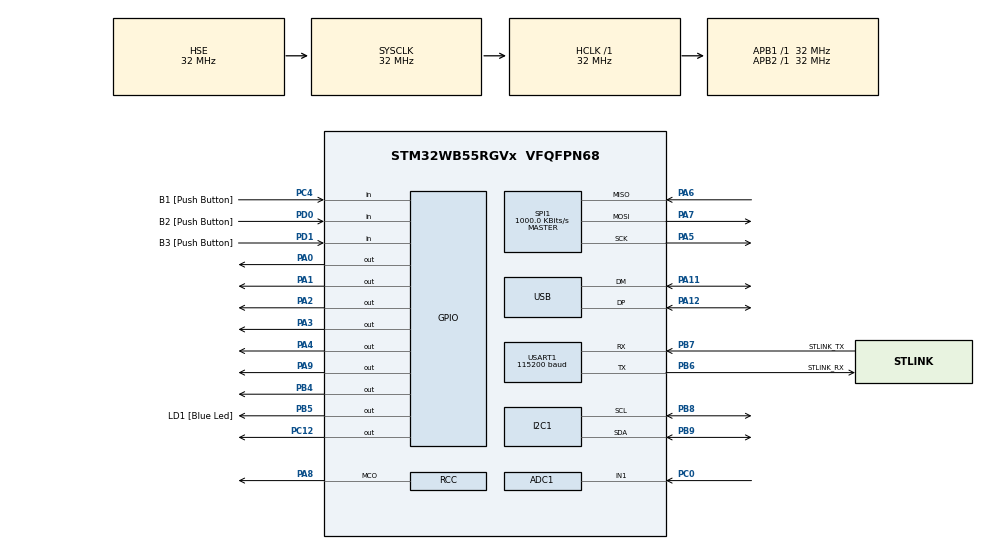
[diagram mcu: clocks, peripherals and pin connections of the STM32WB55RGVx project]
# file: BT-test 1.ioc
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ADC1.Channel-1\#ChannelRegularConversion=ADC_CHANNEL_1
ADC1.ContinuousConvMode=DISABLE
ADC1.NbrOfConversionFlag=1
ADC1.OffsetNumber-1\#ChannelRegularConversion=ADC_OFFSET_NONE
ADC1.Rank-1\#ChannelRegularConversion=1
ADC1.SamplingTime-1\#ChannelRegularConversion=ADC_SAMPLETIME_2CYCLES_5
ADC1.master=1
Dma.Request0=USART1_RX
Dma.Request1=USART1_TX
Dma.USART1_RX.0.Direction=DMA_PERIPH_TO_MEMORY
Dma.USART1_RX.0.EventEnable=DISABLE
Dma.USART1_RX.0.Instance=DMA1_Channel1
Dma.USART1_RX.0.MemDataAlignment=DMA_MDATAALIGN_BYTE
Dma.USART1_RX.0.MemInc=DMA_MINC_ENABLE
Dma.USART1_RX.0.Mode=DMA_NORMAL
Dma.USART1_RX.0.PeriphDataAlignment=DMA_PDATAALIGN_BYTE
Dma.USART1_RX.0.PeriphInc=DMA_PINC_DISABLE
Dma.USART1_RX.0.Polarity=HAL_DMAMUX_REQ_GEN_RISING
Dma.USART1_RX.0.Priority=DMA_PRIORITY_LOW
Dma.USART1_RX.0.RequestNumber=1
Dma.USART1_RX.0.SignalID=NONE
Dma.USART1_RX.0.SyncEnable=DISABLE
Dma.USART1_RX.0.SyncPolarity=HAL_DMAMUX_SYNC_NO_EVENT
Dma.USART1_RX.0.SyncRequestNumber=1
Dma.USART1_RX.0.SyncSignalID=NONE
Dma.USART1_TX.1.Direction=DMA_MEMORY_TO_PERIPH
Dma.USART1_TX.1.EventEnable=DISABLE
Dma.USART1_TX.1.Instance=DMA1_Channel2
Dma.USART1_TX.1.MemDataAlignment=DMA_MDATAALIGN_BYTE
Dma.USART1_TX.1.MemInc=DMA_MINC_ENABLE
Dma.USART1_TX.1.Mode=DMA_NORMAL
Dma.USART1_TX.1.PeriphDataAlignment=DMA_PDATAALIGN_BYTE
Dma.USART1_TX.1.PeriphInc=DMA_PINC_DISABLE
Dma.USART1_TX.1.Polarity=HAL_DMAMUX_REQ_GEN_RISING
Dma.USART1_TX.1.Priority=DMA_PRIORITY_LOW
Dma.USART1_TX.1.RequestNumber=1
Dma.USART1_TX.1.SignalID=NONE
Dma.USART1_TX.1.SyncEnable=DISABLE
Dma.USART1_TX.1.SyncPolarity=HAL_DMAMUX_SYNC_NO_EVENT
Dma.USART1_TX.1.SyncRequestNumber=1
Dma.USART1_TX.1.SyncSignalID=NONE
I2C1.Timing=0x00707CBB
Mcu.Family=STM32WB
Mcu.Name=STM32WB55RGVx
Mcu.Package=VFQFPN68
NVIC.DMA1_Channel1_IRQn=true\:0\:0\:false\:false\:true\:false\:true\:true
NVIC.DMA1_Channel2_IRQn=true\:0\:0\:false\:false\:true\:false\:true\:true
NVIC.HSEM_IRQn=true\:0\:0\:false\:false\:true\:false\:true\:true
NVIC.IPCC_C1_RX_IRQn=true\:0\:0\:false\:false\:true\:true\:true\:true
NVIC.IPCC_C1_TX_IRQn=true\:0\:0\:false\:false\:true\:true\:true\:true
NVIC.PriorityGroup=NVIC_PRIORITYGROUP_4
NVIC.RTC_WKUP_IRQn=true\:0\:0\:false\:false\:true\:true\:true\:true
NVIC.SPI1_IRQn=true\:0\:0\:false\:false\:true\:true\:true\:true
NVIC.USART1_IRQn=true\:0\:0\:false\:false\:true\:true\:true\:true
OSC_IN.Mode=HSE-External-Oscillator
OSC_IN.Signal=RCC_OSC_IN
OSC_OUT.Mode=HSE-External-Oscillator
OSC_OUT.Signal=RCC_OSC_OUT
PA0.Signal=GPIO_Output
PA1.Signal=GPIO_Output
PA11.Mode=Device
PA11.Signal=USB_DM
PA12.Mode=Device
PA12.Signal=USB_DP
PA13.GPIO_Label=JTMS
PA13.Mode=Serial_Wire
PA13.Signal=SYS_JTMS-SWDIO
PA14.GPIO_Label=JTCK
PA14.Mode=Serial_Wire
PA14.Signal=SYS_JTCK-SWCLK
PA2.Signal=GPIO_Output
PA3.Signal=GPIO_Output
PA4.Signal=GPIO_Output
PA5.Mode=Full_Duplex_Master
PA5.Signal=SPI1_SCK
PA6.Mode=Full_Duplex_Master
PA6.Signal=SPI1_MISO
PA7.Mode=Full_Duplex_Master
PA7.Signal=SPI1_MOSI
PA8.Mode=Clock-out
PA8.Signal=RCC_MCO
PA9.Signal=GPIO_Output
PB3.GPIO_Label=JTDO
PB3.Signal=SYS_JTDO-SWO
PB4.Signal=GPIO_Output
PB5.GPIO_Label=LD1 [Blue Led]
PB5.Signal=GPIO_Output
PB6.GPIO_Label=STLINK_RX
PB6.GPIO_PuPd=GPIO_PULLUP
PB6.Mode=Asynchronous
PB6.Signal=USART1_TX
PB7.GPIO_Label=STLINK_TX
PB7.GPIO_PuPd=GPIO_PULLUP
PB7.Mode=Asynchronous
PB7.Signal=USART1_RX
PB8.GPIO_Pu=GPIO_PULLUP
PB8.GPIO_Speed=GPIO_SPEED_FREQ_VERY_HIGH
PB8.Mode=I2C
PB8.Signal=I2C1_SCL
PB9.GPIO_Pu=GPIO_PULLUP
PB9.GPIO_Speed=GPIO_SPEED_FREQ_VERY_HIGH
PB9.Mode=I2C
PB9.Signal=I2C1_SDA
PC0.Signal=ADCx_IN1
PC12.Signal=GPIO_Output
PC13.Signal=SYS_WKUP2
PC14-OSC32_IN.Mode=LSE-External-Oscillator
PC14-OSC32_IN.Signal=RCC_OSC32_IN
PC15-OSC32_OUT.Mode=LSE-External-Oscillator
PC15-OSC32_OUT.Signal=RCC_OSC32_OUT
PC4.GPIO_Label=B1 [Push Button]
PC4.Signal=GPIO_Input
PD0.GPIO_Label=B2 [Push Button]
PD0.Signal=GPIO_Input
PD1.GPIO_Label=B3 [Push Button]
PD1.Signal=GPIO_Input
ProjectManager.HeapSize=0x200
ProjectManager.StackSize=0x400
ProjectManager.TargetToolchain=STM32CubeIDE
RCC.ADCFreq_Value=48000000
RCC.AHBFreq_Value=32000000
RCC.APB1Freq_Value=32000000
RCC.APB1TimFreq_Value=32000000
RCC.APB2Freq_Value=32000000
RCC.APB2TimFreq_Value=32000000
RCC.APB3Freq_Value=16000000
RCC.CortexFreq_Value=32000000
RCC.HCLKFreq_Value=32000000
RCC.HSE_VALUE=32000000
RCC.HSI48_VALUE=48000000
RCC.HSI_VALUE=16000000
RCC.PLLN=32
RCC.PLLP=RCC_PLLP_DIV7
RCC.PLLSAI1N=24
RCC.RFWKPClockSelection=RCC_RFWKPCLKSOURCE_LSE
RCC.RTCClockSelection=RCC_RTCCLKSOURCE_LSE
RCC.SMPSCLockSelectionVirtual=RCC_SMPSCLKSOURCE_HSI
RCC.SMPSCLockSelectionVirtualVirtual=RCC_SMPSCLKSOURCE_HSI
RCC.SMPSDivider=1
RCC.SYSCLKFreq_VALUE=32000000
RCC.SYSCLKSource=RCC_SYSCLKSOURCE_HSE
RCC.USBFreq_Value=48000000
RCC.VCOOutputFreq_Value=128000000
RF1.Mode=RF1_Activate
RF1.Signal=RF_RF1
SH.ADCx_IN1.0=ADC1_IN1,IN1-Single-Ended
SPI1.BaudRatePrescaler=SPI_BAUDRATEPRESCALER_32
SPI1.CalculateBaudRate=1000.0 KBits/s
SPI1.DataSize=SPI_DATASIZE_8BIT
SPI1.Direction=SPI_DIRECTION_2LINES
SPI1.Mode=SPI_MODE_MASTER
SPI1.NSSPMode=SPI_NSS_PULSE_DISABLE
SPI1.VirtualType=VM_MASTER
STM32_WPAN.AD_TYPE_COMPLETE_LOCAL_NAME=SMRTGLV
STM32_WPAN.AD_TYPE_COMPLETE_LOCAL_NAME_LENGTH=8
STM32_WPAN.CFG_GAP_DEVICE_NAME=smartGlv
STM32_WPAN.CUSTOM_P2P_SERVER=Disabled
STM32_WPAN.CUSTOM_TEMPLATE=Enabled
STM32_WPAN.INCLUDE_AD_TYPE_COMPLETE_LOCAL_NAME=1
STM32_WPAN.NUMBER_OF_SERVICES=1
STM32_WPAN.SERVICE1_CHAR1_LONG_NAME=fingerOne
STM32_WPAN.SERVICE1_CHAR1_PROP_NOTIFY=CHAR_PROP_NOTIFY
STM32_WPAN.SERVICE1_CHAR1_SHORT_NAME=f1
STM32_WPAN.SERVICE1_CHAR1_VALUE_LENGTH=2
STM32_WPAN.SERVICE1_CHAR2_LONG_NAME=fingerTwo
STM32_WPAN.SERVICE1_CHAR2_PROP_NOTIFY=CHAR_PROP_NOTIFY
STM32_WPAN.SERVICE1_CHAR2_SHORT_NAME=f2
STM32_WPAN.SERVICE1_CHAR2_UUID=00 01
STM32_WPAN.SERVICE1_CHAR2_VALUE_LENGTH=4
STM32_WPAN.SERVICE1_CHAR3_LONG_NAME=fingerThree
STM32_WPAN.SERVICE1_CHAR3_PROP_NOTIFY=CHAR_PROP_NOTIFY
STM32_WPAN.SERVICE1_CHAR3_SHORT_NAME=f3
STM32_WPAN.SERVICE1_CHAR3_UUID=00 02
STM32_WPAN.SERVICE1_CHAR3_VALUE_LENGTH=4
STM32_WPAN.SERVICE1_CHAR4_LONG_NAME=fingerFour
STM32_WPAN.SERVICE1_CHAR4_PROP_NOTIFY=CHAR_PROP_NOTIFY
STM32_WPAN.SERVICE1_CHAR4_SHORT_NAME=f4
STM32_WPAN.SERVICE1_CHAR4_UUID=00 03
STM32_WPAN.SERVICE1_CHAR4_VALUE_LENGTH=4
STM32_WPAN.SERVICE1_CHAR5_LONG_NAME=thumbData
STM32_WPAN.SERVICE1_CHAR5_PROP_NOTIFY=CHAR_PROP_NOTIFY
STM32_WPAN.SERVICE1_CHAR5_SHORT_NAME=tData
STM32_WPAN.SERVICE1_CHAR5_UUID=00 04
STM32_WPAN.SERVICE1_CHAR5_VALUE_LENGTH=4
STM32_WPAN.SERVICE1_LONG_NAME=smartGlove
STM32_WPAN.SERVICE1_NUMBER_OF_CHARACTERISTICS=5
STM32_WPAN.SERVICE1_SHORT_NAME=smrtGlv
USART1.BaudRate=115200
USART1.VirtualMode-Asynchronous=VM_ASYNC
USART1.WordLength=WORDLENGTH_8B
VP_HSEM_VS_HSEM.Mode=HSEM_Activate
VP_IPCC_VS_IPCC.Mode=IPCC_Activate
VP_MEMORYMAP_VS_MEMORYMAP.Mode=CurAppReg
VP_RTC_VS_RTC_Activate.Mode=RTC_Enabled
VP_RTC_VS_RTC_WakeUp_intern.Mode=WakeUp
VP_SEQUENCER_VS_SEQUENCER.Mode=SEQUENCER_Enabled
VP_STM32_WPAN_VS_BLE_HOST.Mode=STM32_WPAN_Enabled
VP_TINY_LPM_VS_TINY_LPM.Mode=TINY_LPM_Enabled
board=NUCLEO-WB55RG

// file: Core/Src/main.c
/* USER CODE BEGIN Header */
/**
  ******************************************************************************
  * @file           : main.c
  * @brief          : Main program body
  ******************************************************************************
  * @attention
  *
  * Copyright (c) 2024 STMicroelectronics.
  * All rights reserved.
  *
  * This software is licensed under terms that can be found in the LICENSE file
  * in the root directory of this software component.
  * If no LICENSE file comes with this software, it is provided AS-IS.
  *
  ******************************************************************************
  */
/* USER CODE END Header */
#include "main.h"

/* USER CODE BEGIN Includes */
#include "bmi323_task.h"
#include "SPI_init.h"
#include "ADS1115.h"

/* USER CODE END Includes */

ADC_HandleTypeDef hadc1;

I2C_HandleTypeDef hi2c1;

IPCC_HandleTypeDef hipcc;

RTC_HandleTypeDef hrtc;

SPI_HandleTypeDef hspi1;

UART_HandleTypeDef huart1;
DMA_HandleTypeDef hdma_usart1_rx;
DMA_HandleTypeDef hdma_usart1_tx;

PCD_HandleTypeDef hpcd_USB_FS;

void SystemClock_Config(void);
void PeriphCommonClock_Config(void);
static void MX_GPIO_Init(void);
static void MX_DMA_Init(void);
static void MX_USART1_UART_Init(void);
static void MX_USB_PCD_Init(void);
static void MX_SPI1_Init(void);
static void MX_IPCC_Init(void);
static void MX_RTC_Init(void);
static void MX_ADC1_Init(void);
static void MX_I2C1_Init(void);
static void MX_RF_Init(void);

/* USER CODE BEGIN 0 */
struct bmi3_dev dev, dev2, dev3, dev4; // dev5, dev6, dev7, dev8, dev9, dev10, dev11;
float flexData[] = {0,0,0,0};

/* USER CODE END 0 */

int main(void)
{

  /* MCU Configuration--------------------------------------------------------*/

  /* Reset of all peripherals, Initializes the Flash interface and the Systick. */
  HAL_Init();
  /* Config code for STM32_WPAN (HSE Tuning must be done before system clock configuration) */
  MX_APPE_Config();

  /* Configure the system clock */
  SystemClock_Config();

/* Configure the peripherals common clocks */
  PeriphCommonClock_Config();

  /* IPCC initialisation */
  MX_IPCC_Init();

  /* Initialize all configured peripherals */
  MX_GPIO_Init();
  MX_DMA_Init();
  MX_USART1_UART_Init();
  MX_USB_PCD_Init();
  MX_SPI1_Init();
  MX_RTC_Init();
  MX_ADC1_Init();
  MX_I2C1_Init();
  MX_RF_Init();

  /* Init code for STM32_WPAN */
  MX_APPE_Init();

  /* Infinite loop */
  /* USER CODE BEGIN WHILE */

	int8_t rslt = BMI3_OK;
	uint8_t flag;

/* Implementation of the sensor read/write function cannot really be changed so here we go*/
//	dev.read = (bmi3_read_fptr_t)SensorAPI_SPIx_Read1;
//	dev.write = (bmi3_write_fptr_t)SensorAPI_SPIx_Write1;
//	Init_BMI323(&dev);
//	HAL_Delay(10);

//	dev2.read = (bmi3_read_fptr_t)SensorAPI_SPIx_Read2;
//	dev2.write = (bmi3_write_fptr_t)SensorAPI_SPIx_Write2;
//	Init_BMI323(&dev2);
//	HAL_Delay(10);

//	dev3.read = (bmi3_read_fptr_t)SensorAPI_SPIx_Read3;
//	dev3.write = (bmi3_write_fptr_t)SensorAPI_SPIx_Write3;
//	Init_BMI323(&dev3);
//	HAL_Delay(10);
//
//	dev4.read = (bmi3_read_fptr_t)SensorAPI_SPIx_Read4;
//	dev4.write = (bmi3_write_fptr_t)SensorAPI_SPIx_Write4;
//	Init_BMI323(&dev4);
//	HAL_Delay(10);

//	dev5.read = (bmi3_read_fptr_t)SensorAPI_SPIx_Read5;
//	dev5.write = (bmi3_write_fptr_t)SensorAPI_SPIx_Write5;
//	Init_BMI323(&dev5);
//	HAL_Delay(10);
//
//	dev6.read = (bmi3_read_fptr_t)SensorAPI_SPIx_Read6;
//	dev6.write = (bmi3_write_fptr_t)SensorAPI_SPIx_Write6;
//	Init_BMI323(&dev6);
//	HAL_Delay(10);
//
//	dev7.read = (bmi3_read_fptr_t)SensorAPI_SPIx_Read7;
//	dev7.write = (bmi3_write_fptr_t)SensorAPI_SPIx_Write7;
//	Init_BMI323(&dev7);
//	HAL_Delay(10);
//
//	dev8.read = (bmi3_read_fptr_t)SensorAPI_SPIx_Read8;
//	dev8.write = (bmi3_write_fptr_t)SensorAPI_SPIx_Write8;
//	Init_BMI323(&dev8);
//	HAL_Delay(10);
//
//	dev9.read = (bmi3_read_fptr_t)SensorAPI_SPIx_Read9;
//	dev9.write = (bmi3_write_fptr_t)SensorAPI_SPIx_Write9;
//	Init_BMI323(&dev9);
//	HAL_Delay(10);
//
//	dev10.read = (bmi3_read_fptr_t)SensorAPI_SPIx_Read10;
//	dev10.write = (bmi3_write_fptr_t)SensorAPI_SPIx_Write10;
//	Init_BMI323(&dev10);
//	HAL_Delay(10);
//
//	dev11.read = (bmi3_read_fptr_t)SensorAPI_SPIx_Read11;
//	dev11.write = (bmi3_write_fptr_t)SensorAPI_SPIx_Write11;
//	Init_BMI323(&dev11);
//	HAL_Delay(10);

  while (1)
  {
    /* USER CODE END WHILE */
//    MX_APPE_Process();

    /* USER CODE BEGIN 3 */
	  uint16_t raw;
	  HAL_ADC_Start(&hadc1);
	  HAL_ADC_PollForConversion(&hadc1, 10);
	  raw = HAL_ADC_GetValue(&hadc1);
	  PDEBUG("ADC: %d ", raw);

	  getFlexData(flexData);
	  PDEBUG("A0: %f, A1: %f, A2: %f, A3: %f\r\n", flexData[0], flexData[1], flexData[2], flexData[3]);
	  HAL_Delay(100);

//	bmi3_get_regs(BMI3_REG_STATUS, &flag, 1, &dev);
//	if((flag & 0x40) == 0) continue;
//	read_sensor(dev, data);
//	bmi3_get_regs(BMI3_REG_STATUS, &flag, 1, &dev2);
//	if((flag & 0x40) == 0) continue;
//	read_sensor(dev2, data);
//	HAL_Delay(1);

    /* Data monitor */
//  PDEBUG("1:\n");
//	PDEBUG("GYRO: X axis: %4.2f, Y axis: %4.2f, Z axis: %4.2f\r\n", data1[0], data1[1], data1[2]);
//	PDEBUG("ACC: X axis: %4.2f, Y axis: %4.2f, Z axis: %4.2f\r\n", data1[3], data1[4], data1[5]);
//  PDEBUG("GYRO: X axis: %#16x, Y axis: %#16x, Z axis: %#16x\r\n", dataI1[0], dataI1[1], dataI1[2]);
//  PDEBUG("ACC: X axis: %#16x, Y axis: %#16x, Z axis: %#16x\r\n", dataI1[3], dataI1[4], dataI1[5]);

  }
  /* USER CODE END 3 */
}

void SystemClock_Config(void)
{
  RCC_OscInitTypeDef RCC_OscInitStruct = {0};
  RCC_ClkInitTypeDef RCC_ClkInitStruct = {0};

  /** Macro to configure the PLL multiplication factor
  */
  __HAL_RCC_PLL_PLLM_CONFIG(RCC_PLLM_DIV1);

  /** Macro to configure the PLL clock source
  */
  __HAL_RCC_PLL_PLLSOURCE_CONFIG(RCC_PLLSOURCE_MSI);

  /** Configure LSE Drive Capability
  */
  HAL_PWR_EnableBkUpAccess();
  __HAL_RCC_LSEDRIVE_CONFIG(RCC_LSEDRIVE_MEDIUMHIGH);

  /** Configure the main internal regulator output voltage
  */
  __HAL_PWR_VOLTAGESCALING_CONFIG(PWR_REGULATOR_VOLTAGE_SCALE1);

  /** Initializes the RCC Oscillators according to the specified parameters
  * in the RCC_OscInitTypeDef structure.
  */
  RCC_OscInitStruct.OscillatorType = RCC_OSCILLATORTYPE_HSI|RCC_OSCILLATORTYPE_HSE
                              |RCC_OSCILLATORTYPE_LSE|RCC_OSCILLATORTYPE_MSI;
  RCC_OscInitStruct.HSEState = RCC_HSE_ON;
  RCC_OscInitStruct.LSEState = RCC_LSE_ON;
  RCC_OscInitStruct.HSIState = RCC_HSI_ON;
  RCC_OscInitStruct.MSIState = RCC_MSI_ON;
  RCC_OscInitStruct.HSICalibrationValue = RCC_HSICALIBRATION_DEFAULT;
  RCC_OscInitStruct.MSICalibrationValue = RCC_MSICALIBRATION_DEFAULT;
  RCC_OscInitStruct.MSIClockRange = RCC_MSIRANGE_6;
  RCC_OscInitStruct.PLL.PLLState = RCC_PLL_NONE;
  if (HAL_RCC_OscConfig(&RCC_OscInitStruct) != HAL_OK)
  {
    Error_Handler();
  }

  /** Configure the SYSCLKSource, HCLK, PCLK1 and PCLK2 clocks dividers
  */
  RCC_ClkInitStruct.ClockType = RCC_CLOCKTYPE_HCLK4|RCC_CLOCKTYPE_HCLK2
                              |RCC_CLOCKTYPE_HCLK|RCC_CLOCKTYPE_SYSCLK
                              |RCC_CLOCKTYPE_PCLK1|RCC_CLOCKTYPE_PCLK2;
  RCC_ClkInitStruct.SYSCLKSource = RCC_SYSCLKSOURCE_HSE;
  RCC_ClkInitStruct.AHBCLKDivider = RCC_SYSCLK_DIV1;
  RCC_ClkInitStruct.APB1CLKDivider = RCC_HCLK_DIV1;
  RCC_ClkInitStruct.APB2CLKDivider = RCC_HCLK_DIV1;
  RCC_ClkInitStruct.AHBCLK2Divider = RCC_SYSCLK_DIV1;
  RCC_ClkInitStruct.AHBCLK4Divider = RCC_SYSCLK_DIV1;

  if (HAL_RCC_ClockConfig(&RCC_ClkInitStruct, FLASH_LATENCY_1) != HAL_OK)
  {
    Error_Handler();
  }
  HAL_RCC_MCOConfig(RCC_MCO1, RCC_MCO1SOURCE_SYSCLK, RCC_MCODIV_1);

  /** Enable MSI Auto calibration
  */
  HAL_RCCEx_EnableMSIPLLMode();
}

void PeriphCommonClock_Config(void)
{
  RCC_PeriphCLKInitTypeDef PeriphClkInitStruct = {0};

  /** Initializes the peripherals clock
  */
  PeriphClkInitStruct.PeriphClockSelection = RCC_PERIPHCLK_SMPS|RCC_PERIPHCLK_RFWAKEUP
                              |RCC_PERIPHCLK_USB|RCC_PERIPHCLK_ADC;
  PeriphClkInitStruct.PLLSAI1.PLLN = 24;
  PeriphClkInitStruct.PLLSAI1.PLLP = RCC_PLLP_DIV2;
  PeriphClkInitStruct.PLLSAI1.PLLQ = RCC_PLLQ_DIV2;
  PeriphClkInitStruct.PLLSAI1.PLLR = RCC_PLLR_DIV2;
  PeriphClkInitStruct.PLLSAI1.PLLSAI1ClockOut = RCC_PLLSAI1_USBCLK|RCC_PLLSAI1_ADCCLK;
  PeriphClkInitStruct.UsbClockSelection = RCC_USBCLKSOURCE_PLLSAI1;
  PeriphClkInitStruct.AdcClockSelection = RCC_ADCCLKSOURCE_PLLSAI1;
  PeriphClkInitStruct.RFWakeUpClockSelection = RCC_RFWKPCLKSOURCE_LSE;
  PeriphClkInitStruct.SmpsClockSelection = RCC_SMPSCLKSOURCE_HSI;
  PeriphClkInitStruct.SmpsDivSelection = RCC_SMPSCLKDIV_RANGE0;

  if (HAL_RCCEx_PeriphCLKConfig(&PeriphClkInitStruct) != HAL_OK)
  {
    Error_Handler();
  }
}

static void MX_ADC1_Init(void)
{

  ADC_ChannelConfTypeDef sConfig = {0};

  /** Common config
  */
  hadc1.Instance = ADC1;
  hadc1.Init.ClockPrescaler = ADC_CLOCK_ASYNC_DIV1;
  hadc1.Init.Resolution = ADC_RESOLUTION_12B;
  hadc1.Init.DataAlign = ADC_DATAALIGN_RIGHT;
  hadc1.Init.ScanConvMode = ADC_SCAN_DISABLE;
  hadc1.Init.EOCSelection = ADC_EOC_SINGLE_CONV;
  hadc1.Init.LowPowerAutoWait = DISABLE;
  hadc1.Init.ContinuousConvMode = DISABLE;
  hadc1.Init.NbrOfConversion = 1;
  hadc1.Init.DiscontinuousConvMode = DISABLE;
  hadc1.Init.ExternalTrigConv = ADC_SOFTWARE_START;
  hadc1.Init.ExternalTrigConvEdge = ADC_EXTERNALTRIGCONVEDGE_NONE;
  hadc1.Init.DMAContinuousRequests = DISABLE;
  hadc1.Init.Overrun = ADC_OVR_DATA_PRESERVED;
  hadc1.Init.OversamplingMode = DISABLE;
  if (HAL_ADC_Init(&hadc1) != HAL_OK)
  {
    Error_Handler();
  }

  /** Configure Regular Channel
  */
  sConfig.Channel = ADC_CHANNEL_1;
  sConfig.Rank = ADC_REGULAR_RANK_1;
  sConfig.SamplingTime = ADC_SAMPLETIME_2CYCLES_5;
  sConfig.SingleDiff = ADC_SINGLE_ENDED;
  sConfig.OffsetNumber = ADC_OFFSET_NONE;
  sConfig.Offset = 0;
  if (HAL_ADC_ConfigChannel(&hadc1, &sConfig) != HAL_OK)
  {
    Error_Handler();
  }

}

static void MX_I2C1_Init(void)
{

  hi2c1.Instance = I2C1;
  hi2c1.Init.Timing = 0x00707CBB;
  hi2c1.Init.OwnAddress1 = 0;
  hi2c1.Init.AddressingMode = I2C_ADDRESSINGMODE_7BIT;
  hi2c1.Init.DualAddressMode = I2C_DUALADDRESS_DISABLE;
  hi2c1.Init.OwnAddress2 = 0;
  hi2c1.Init.OwnAddress2Masks = I2C_OA2_NOMASK;
  hi2c1.Init.GeneralCallMode = I2C_GENERALCALL_DISABLE;
  hi2c1.Init.NoStretchMode = I2C_NOSTRETCH_DISABLE;
  if (HAL_I2C_Init(&hi2c1) != HAL_OK)
  {
    Error_Handler();
  }

  /** Configure Analogue filter
  */
  if (HAL_I2CEx_ConfigAnalogFilter(&hi2c1, I2C_ANALOGFILTER_ENABLE) != HAL_OK)
  {
    Error_Handler();
  }

  /** Configure Digital filter
  */
  if (HAL_I2CEx_ConfigDigitalFilter(&hi2c1, 0) != HAL_OK)
  {
    Error_Handler();
  }

}

static void MX_IPCC_Init(void)
{

  hipcc.Instance = IPCC;
  if (HAL_IPCC_Init(&hipcc) != HAL_OK)
  {
    Error_Handler();
  }

}

static void MX_RF_Init(void)
{

}

static void MX_RTC_Init(void)
{

  /** Initialize RTC Only
  */
  hrtc.Instance = RTC;
  hrtc.Init.HourFormat = RTC_HOURFORMAT_24;
  hrtc.Init.AsynchPrediv = CFG_RTC_ASYNCH_PRESCALER;
  hrtc.Init.SynchPrediv = CFG_RTC_SYNCH_PRESCALER;
  hrtc.Init.OutPut = RTC_OUTPUT_DISABLE;
  hrtc.Init.OutPutPolarity = RTC_OUTPUT_POLARITY_HIGH;
  hrtc.Init.OutPutType = RTC_OUTPUT_TYPE_OPENDRAIN;
  hrtc.Init.OutPutRemap = RTC_OUTPUT_REMAP_NONE;
  if (HAL_RTC_Init(&hrtc) != HAL_OK)
  {
    Error_Handler();
  }

  /** Enable the WakeUp
  */
  if (HAL_RTCEx_SetWakeUpTimer_IT(&hrtc, 0, RTC_WAKEUPCLOCK_RTCCLK_DIV16) != HAL_OK)
  {
    Error_Handler();
  }

}

static void MX_SPI1_Init(void)
{

  /* SPI1 parameter configuration*/
  hspi1.Instance = SPI1;
  hspi1.Init.Mode = SPI_MODE_MASTER;
  hspi1.Init.Direction = SPI_DIRECTION_2LINES;
  hspi1.Init.DataSize = SPI_DATASIZE_8BIT;
  hspi1.Init.CLKPolarity = SPI_POLARITY_LOW;
  hspi1.Init.CLKPhase = SPI_PHASE_1EDGE;
  hspi1.Init.NSS = SPI_NSS_SOFT;
  hspi1.Init.BaudRatePrescaler = SPI_BAUDRATEPRESCALER_32;
  hspi1.Init.FirstBit = SPI_FIRSTBIT_MSB;
  hspi1.Init.TIMode = SPI_TIMODE_DISABLE;
  hspi1.Init.CRCCalculation = SPI_CRCCALCULATION_DISABLE;
  hspi1.Init.CRCPolynomial = 7;
  hspi1.Init.CRCLength = SPI_CRC_LENGTH_DATASIZE;
  hspi1.Init.NSSPMode = SPI_NSS_PULSE_DISABLE;
  if (HAL_SPI_Init(&hspi1) != HAL_OK)
  {
    Error_Handler();
  }

}

static void MX_USART1_UART_Init(void)
{

  huart1.Instance = USART1;
  huart1.Init.BaudRate = 115200;
  huart1.Init.WordLength = UART_WORDLENGTH_8B;
  huart1.Init.StopBits = UART_STOPBITS_1;
  huart1.Init.Parity = UART_PARITY_NONE;
  huart1.Init.Mode = UART_MODE_TX_RX;
  huart1.Init.HwFlowCtl = UART_HWCONTROL_NONE;
  huart1.Init.OverSampling = UART_OVERSAMPLING_16;
  huart1.Init.OneBitSampling = UART_ONE_BIT_SAMPLE_DISABLE;
  huart1.Init.ClockPrescaler = UART_PRESCALER_DIV1;
  huart1.AdvancedInit.AdvFeatureInit = UART_ADVFEATURE_NO_INIT;
  if (HAL_UART_Init(&huart1) != HAL_OK)
  {
    Error_Handler();
  }
  if (HAL_UARTEx_SetTxFifoThreshold(&huart1, UART_TXFIFO_THRESHOLD_1_8) != HAL_OK)
  {
    Error_Handler();
  }
  if (HAL_UARTEx_SetRxFifoThreshold(&huart1, UART_RXFIFO_THRESHOLD_1_8) != HAL_OK)
  {
    Error_Handler();
  }
  if (HAL_UARTEx_DisableFifoMode(&huart1) != HAL_OK)
  {
    Error_Handler();
  }

}

static void MX_USB_PCD_Init(void)
{

  hpcd_USB_FS.Instance = USB;
  hpcd_USB_FS.Init.dev_endpoints = 8;
  hpcd_USB_FS.Init.speed = PCD_SPEED_FULL;
  hpcd_USB_FS.Init.phy_itface = PCD_PHY_EMBEDDED;
  hpcd_USB_FS.Init.Sof_enable = DISABLE;
  hpcd_USB_FS.Init.low_power_enable = DISABLE;
  hpcd_USB_FS.Init.lpm_enable = DISABLE;
  hpcd_USB_FS.Init.battery_charging_enable = DISABLE;
  if (HAL_PCD_Init(&hpcd_USB_FS) != HAL_OK)
  {
    Error_Handler();
  }

}

static void MX_DMA_Init(void)
{

  /* DMA controller clock enable */
  __HAL_RCC_DMAMUX1_CLK_ENABLE();
  __HAL_RCC_DMA1_CLK_ENABLE();

  /* DMA interrupt init */
  /* DMA1_Channel1_IRQn interrupt configuration */
  HAL_NVIC_SetPriority(DMA1_Channel1_IRQn, 0, 0);
  HAL_NVIC_EnableIRQ(DMA1_Channel1_IRQn);
  /* DMA1_Channel2_IRQn interrupt configuration */
  HAL_NVIC_SetPriority(DMA1_Channel2_IRQn, 0, 0);
  HAL_NVIC_EnableIRQ(DMA1_Channel2_IRQn);

}

static void MX_GPIO_Init(void)
{
  GPIO_InitTypeDef GPIO_InitStruct = {0};

  /* GPIO Ports Clock Enable */
  __HAL_RCC_GPIOC_CLK_ENABLE();
  __HAL_RCC_GPIOB_CLK_ENABLE();
  __HAL_RCC_GPIOA_CLK_ENABLE();
  __HAL_RCC_GPIOD_CLK_ENABLE();

  /*Configure GPIO pin Output Level */
  HAL_GPIO_WritePin(GPIOA, GPIO_PIN_0|GPIO_PIN_1|GPIO_PIN_2|GPIO_PIN_3
                          |GPIO_PIN_4|GPIO_PIN_9, GPIO_PIN_RESET);

  /*Configure GPIO pin Output Level */
  HAL_GPIO_WritePin(GPIOC, GPIO_PIN_12, GPIO_PIN_RESET);

  /*Configure GPIO pin Output Level */
  HAL_GPIO_WritePin(GPIOB, GPIO_PIN_4|LD1_Pin, GPIO_PIN_RESET);

  /*Configure GPIO pins : PA0 PA1 PA2 PA3
                           PA4 PA9 */
  GPIO_InitStruct.Pin = GPIO_PIN_0|GPIO_PIN_1|GPIO_PIN_2|GPIO_PIN_3
                          |GPIO_PIN_4|GPIO_PIN_9;
  GPIO_InitStruct.Mode = GPIO_MODE_OUTPUT_PP;
  GPIO_InitStruct.Pull = GPIO_NOPULL;
  GPIO_InitStruct.Speed = GPIO_SPEED_FREQ_LOW;
  HAL_GPIO_Init(GPIOA, &GPIO_InitStruct);

  /*Configure GPIO pin : PA8 */
  GPIO_InitStruct.Pin = GPIO_PIN_8;
  GPIO_InitStruct.Mode = GPIO_MODE_AF_PP;
  GPIO_InitStruct.Pull = GPIO_NOPULL;
  GPIO_InitStruct.Speed = GPIO_SPEED_FREQ_LOW;
  GPIO_InitStruct.Alternate = GPIO_AF0_MCO;
  HAL_GPIO_Init(GPIOA, &GPIO_InitStruct);

  /*Configure GPIO pin : B1_Pin */
  GPIO_InitStruct.Pin = B1_Pin;
  GPIO_InitStruct.Mode = GPIO_MODE_INPUT;
  GPIO_InitStruct.Pull = GPIO_NOPULL;
  HAL_GPIO_Init(B1_GPIO_Port, &GPIO_InitStruct);

  /*Configure GPIO pin : PC12 */
  GPIO_InitStruct.Pin = GPIO_PIN_12;
  GPIO_InitStruct.Mode = GPIO_MODE_OUTPUT_PP;
  GPIO_InitStruct.Pull = GPIO_NOPULL;
  GPIO_InitStruct.Speed = GPIO_SPEED_FREQ_LOW;
  HAL_GPIO_Init(GPIOC, &GPIO_InitStruct);

  /*Configure GPIO pins : B2_Pin B3_Pin */
  GPIO_InitStruct.Pin = B2_Pin|B3_Pin;
  GPIO_InitStruct.Mode = GPIO_MODE_INPUT;
  GPIO_InitStruct.Pull = GPIO_NOPULL;
  HAL_GPIO_Init(GPIOD, &GPIO_InitStruct);

  /*Configure GPIO pins : PB4 LD1_Pin */
  GPIO_InitStruct.Pin = GPIO_PIN_4|LD1_Pin;
  GPIO_InitStruct.Mode = GPIO_MODE_OUTPUT_PP;
  GPIO_InitStruct.Pull = GPIO_NOPULL;
  GPIO_InitStruct.Speed = GPIO_SPEED_FREQ_LOW;
  HAL_GPIO_Init(GPIOB, &GPIO_InitStruct);

}

void Error_Handler(void)
{
  __disable_irq();
  while (1)
  {
  }
}
